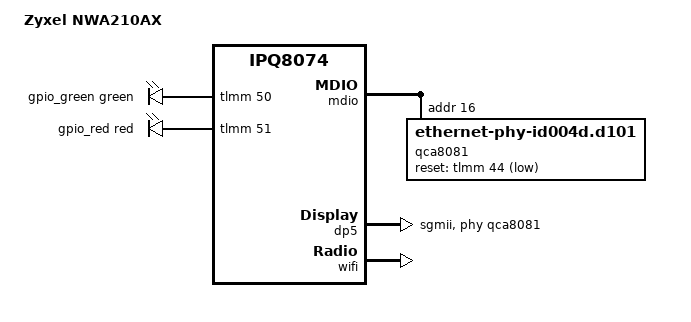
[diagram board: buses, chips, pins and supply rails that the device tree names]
// SPDX-License-Identifier: GPL-2.0-or-later OR MIT
/*
 * Copyright (c) 2025 Pascal Beleiu <pascal@beleiu.de>
 * Copyright (c) 2025 Eric Schäfer <eric@es86.de>
 */

/dts-v1/;

#include "ipq807x-nwax10ax.dtsi"

/ {
	model = "Zyxel NWA210AX";
	compatible = "zyxel,nwa210ax", "qcom,ipq8074";

	aliases {
		ethernet0 = &dp5;
		ethernet1 = &dp1;
		label-mac-device = &dp5;
	};

	leds {
		compatible = "gpio-leds";

		gpio_green {
			gpios = <&tlmm 50 GPIO_ACTIVE_HIGH>;
			default-state = "off";
			color = <LED_COLOR_ID_GREEN>;
			function = LED_FUNCTION_STATUS;
		};

		gpio_red {
			gpios = <&tlmm 51 GPIO_ACTIVE_HIGH>;
			default-state = "off";
			color = <LED_COLOR_ID_RED>;
			function = LED_FUNCTION_STATUS;
		};
	};
};

&tlmm {
	button_pins: button-pins {
		pins = "gpio30";
		function = "gpio";
		drive-strength = <8>;
		bias-pull-up;
	};
};

&switch {
	switch_lan_bmp = <(ESS_PORT1 | ESS_PORT5)>;
	switch_mac_mode = <MAC_MODE_SGMII_CHANNEL0>;
	switch_mac_mode1 = <MAC_MODE_SGMII_PLUS>;
};

&phyinfo {
	port@5 {
		port_id = <5>;
		phy_address = <16>;
		port_mac_sel = "QGMAC_PORT";
	};
};

&mdio {
	qca8081: ethernet-phy@16 {
		compatible = "ethernet-phy-id004d.d101";
		reg = <16>;
		reset-deassert-us = <10000>;
		reset-gpios = <&tlmm 44 GPIO_ACTIVE_LOW>;
	};
};

&dp1 {
	label = "lan1";
	nvmem-cell-names = "mac-address";
	nvmem-cells = <&label_mac 1>;
};

&dp5 {
	status = "okay";
	phy-handle = <&qca8081>;
	phy-mode = "sgmii";
	label = "uplink";
	nvmem-cell-names = "mac-address";
	nvmem-cells = <&label_mac 0>;
};

&wifi {
	qcom,ath11k-calibration-variant = "Zyxel-NWA210AX";
};
